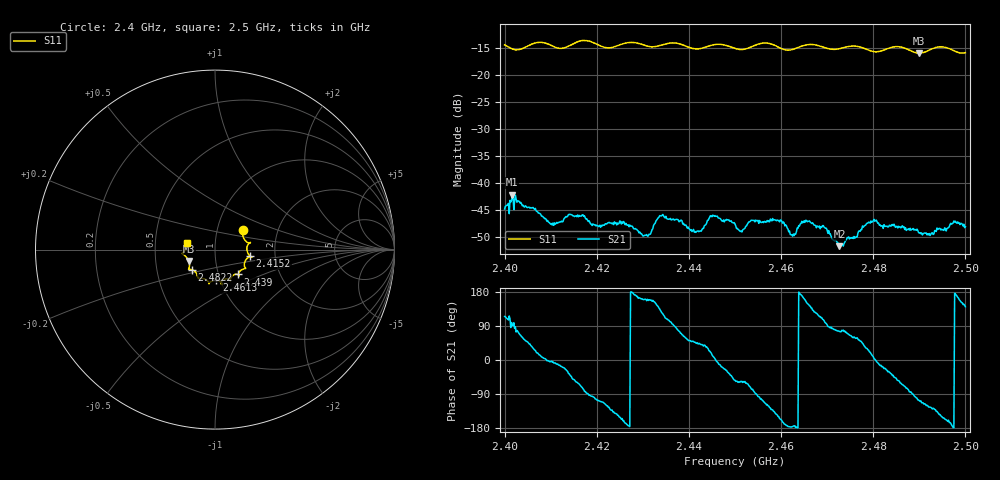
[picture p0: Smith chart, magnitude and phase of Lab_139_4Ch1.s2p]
# Hz S RI R 50
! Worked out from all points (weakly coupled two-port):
!   601 points, 2.4 GHz to 2.5 GHz, reference 50 ohm
!   highest |S21| = -42.11 dB at 2.4017 GHz (marker M1); lowest = -51.7 dB at 2.4727 GHz (marker M2)
!   lowest |S11| = -15.9 dB at 2.49 GHz (marker M3), VSWR 1.38, Z = 36.9 - j4.83 ohm
!   |S11| at or under -10 dB: start of sweep to end of sweep
!   S12 and S22 are empty: the file has one direction only
!   S11 on the Smith chart (normalised r, x): 2.4 GHz: 1.33, +0.31; 2.4152 GHz: 1.48, -0.11; 2.439 GHz: 1.24, -0.36; 2.4613 GHz: 0.96, -0.34; 2.4822 GHz: 0.76, -0.17; 2.5 GHz: 0.73, +0.05
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2.4e9  0.1557 0.1109  -0.00241 0.00522  0 0  0 0
2.401667e9  0.1538 0.0831  -0.000134 0.00784  0 0  0 0
2.410167e9  0.1859 0.0309  0.00422 -0.000223  0 0  0 0
2.415167e9  0.1954 -0.0359  0.00298 -0.0039  0 0  0 0
2.416667e9  0.2049 -0.0419  0.00164 -0.00467  0 0  0 0
2.4305e9  0.1528 -0.1106  -0.00309 0.0011  0 0  0 0
2.433333e9  0.132 -0.1324  -0.00371 0.00301  0 0  0 0
2.439e9  0.128 -0.1384  0.00191 0.00361  0 0  0 0
2.442167e9  0.0972 -0.1467  0.00257 0.00246  0 0  0 0
2.445167e9  0.0845 -0.1714  0.00496 0.000927  0 0  0 0
2.45e9  0.0687 -0.1635  0.00248 -0.00336  0 0  0 0
2.451333e9  0.0532 -0.1646  0.00195 -0.00302  0 0  0 0
2.458167e9  0.0385 -0.1889  -0.00313 -0.00351  0 0  0 0
2.461333e9  0.00721 -0.1707  -0.00381 -0.00046  0 0  0 0
2.462667e9  -0.0122 -0.1737  -0.00336 -0.000335  0 0  0 0
2.466667e9  -0.0335 -0.1898  -0.00309 0.00289  0 0  0 0
2.472667e9  -0.0734 -0.1601  0.000662 0.00252  0 0  0 0
2.479e9  -0.1007 -0.1382  0.00391 0.0019  0 0  0 0
2.482167e9  -0.1282 -0.1119  0.00359 -0.00127  0 0  0 0
2.483333e9  -0.1395 -0.1103  0.00341 -0.00199  0 0  0 0
2.49e9  -0.1468 -0.0637  -0.00103 -0.00329  0 0  0 0
2.5e9  -0.1581 0.034  -0.00306 0.00251  0 0  0 0
